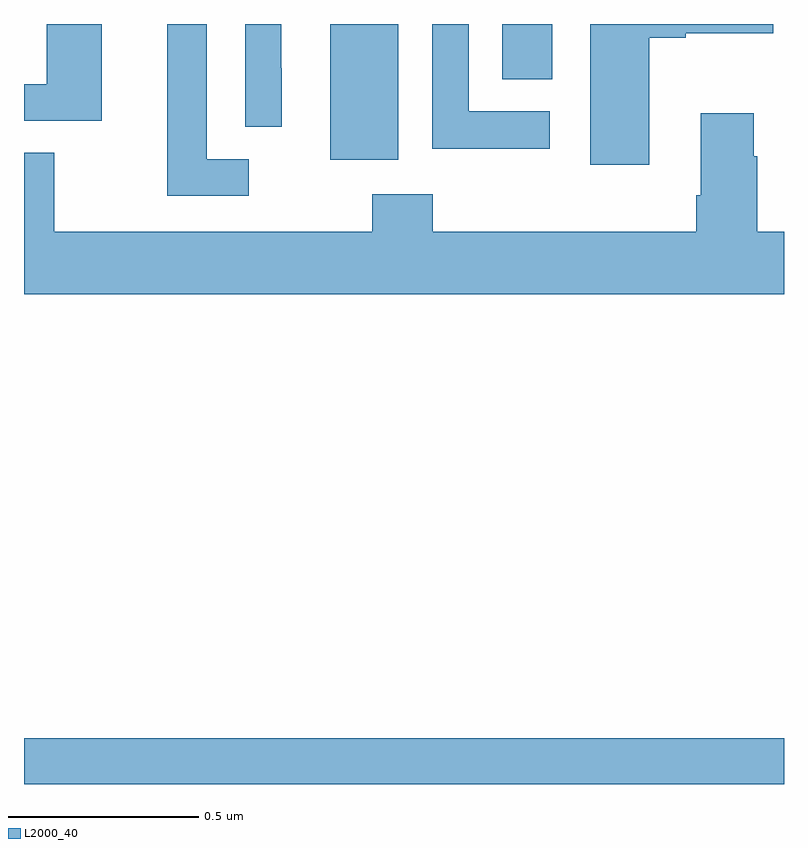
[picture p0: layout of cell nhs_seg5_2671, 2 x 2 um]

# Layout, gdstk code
import gdstk
lib = gdstk.Library(unit=1e-6, precision=1e-09)
def R(c, l, rs):  # rectangles x0, y0, x1, y1
    for r in rs: c.add(gdstk.rectangle(r[:2], r[2:], *l))
def P(c, l, *ps):  # polygons
    for p in ps: c.add(gdstk.Polygon(p, *l))
L2000_40 = (2000, 40)

nhs_seg5_2671 = lib.new_cell('nhs_seg5_2671')
R(nhs_seg5_2671, L2000_40, [(147,860.799,149,860.92), (147.806,862.442,147.985,862.799), (148.259,862.654,148.39,862.799)])
P(nhs_seg5_2671, L2000_40, [(147.592,862.443),(147.481,862.443),(147.481,862.799),(147.377,862.799),(147.377,862.347),(147.592,862.347)],
  [(147.678,862.682),(147.677,862.682),(147.677,862.799),(147.582,862.799),(147.582,862.528),(147.678,862.528)],
  [(148.384,862.569),(148.17,862.569),(148.17,862.799),(148.074,862.799),(148.074,862.471),(148.384,862.471)],
  [(148.645,862.763),(148.741,862.763),(148.741,862.775),(148.972,862.775),(148.972,862.799),(148.49,862.799),(148.49,862.428),(148.645,862.428)],
  [(147.205,862.799),(147.06,862.799),(147.06,862.641),(147,862.641),(147,862.545),(147.205,862.545)],
  [(149,862.252),(148.929,862.252),(148.929,862.451),(148.921,862.451),(148.921,862.564),(148.781,862.564),(148.781,862.348),(148.769,862.348),(148.769,862.252),(148.076,862.252),(148.076,862.351),(147.916,862.351),(147.916,862.252),(147.079,862.252),(147.079,862.46),(147,862.46),(147,862.088),(149,862.088)])

lib.write_gds('nhs_seg5_2671.gds')
